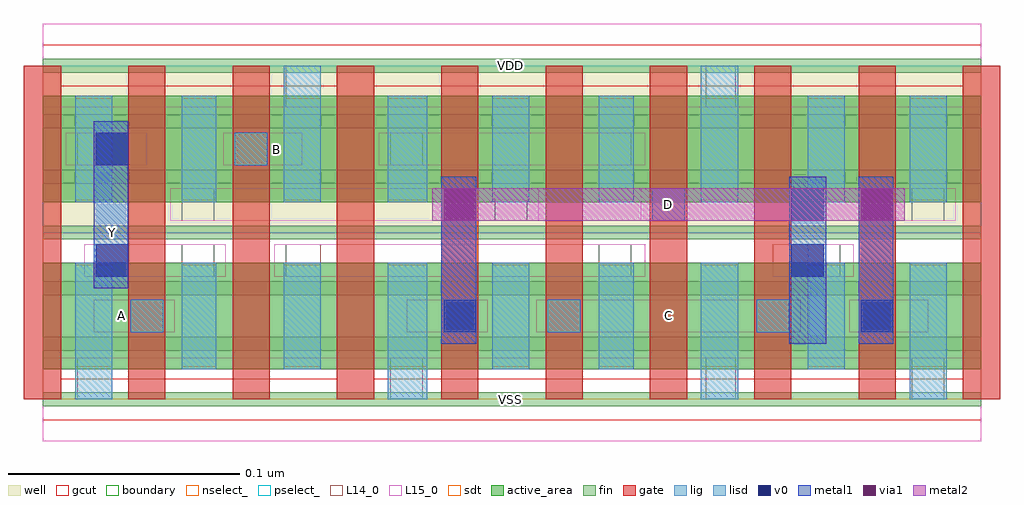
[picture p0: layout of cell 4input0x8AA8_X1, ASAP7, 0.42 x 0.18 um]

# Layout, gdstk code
import gdstk
lib = gdstk.Library(unit=1e-6, precision=1e-09)
def R(c, l, rs):  # rectangles x0, y0, x1, y1
    for r in rs: c.add(gdstk.rectangle(r[:2], r[2:], *l))
def A(c, l, x, y, w, h, nx, ny, dx, dy):  # array of equal rectangles
    R(c, l, [(x+i*dx, y+j*dy, x+i*dx+w, y+j*dy+h) for i in range(nx) for j in range(ny)])
def P(c, l, *ps):  # polygons
    for p in ps: c.add(gdstk.Polygon(p, *l))
well = (1, 0)
fin = (2, 0)
gate = (7, 0)
gcut = (10, 0)
active_area = (11, 0)
nselect_ = (12, 0)
pselect_ = (13, 0)
L14_0 = (14, 0)
L15_0 = (15, 0)
lig = (16, 0)
lisd = (17, 0)
v0 = (18, 0)
metal1 = (19, 0)
metal2 = (20, 0)
via1 = (21, 0)
sdt = (88, 0)
boundary = (100, 0)

c_4input0x8aa8_x1 = lib.new_cell('4input0x8AA8_X1')
R(c_4input0x8aa8_x1, well, [(0,0.072,0.405,0.144)])
A(c_4input0x8aa8_x1, fin, 0, -0.003, 0.405, 0.006, 1, 7, 0, 0.024)
A(c_4input0x8aa8_x1, gate, -0.008, 0, 0.016, 0.144, 10, 1, 0.045, 0)
P(c_4input0x8aa8_x1, gcut, [(0,-0.009),(0,0),(-0.008,0),(-0.008,0.135),(0.008,0.135),(0.008,0.009),(0.127,0.009),(0.127,0.135),(0.143,0.135),(0.143,0.009),(0.397,0.009),(0.397,0.135),(-0.008,0.135),(-0.008,0.144),(0,0.144),(0,0.153),(0.405,0.153),(0.405,0.144),(0.413,0.144),(0.413,0),(0.405,0),(0.405,-0.009)])
R(c_4input0x8aa8_x1, active_area, [(0,0.013,0.405,0.059), (0,0.085,0.405,0.131)])
R(c_4input0x8aa8_x1, nselect_, [(0,0,0.405,0.072)])
R(c_4input0x8aa8_x1, pselect_, [(0,0.072,0.405,0.144)])
R(c_4input0x8aa8_x1, L14_0, [(0.015,0,0.03,0.018), (0.15,0,0.164,0.018), (0.286,0,0.299,0.018), (0.375,0,0.389,0.018), (0.038,0.029,0.052,0.043), (0.173,0.029,0.187,0.043), (0.218,0.029,0.232,0.043), (0.308,0.029,0.322,0.043), (0.353,0.029,0.367,0.043), (0.06,0.053,0.074,0.067), (0.105,0.053,0.12,0.067), (0.24,0.053,0.254,0.067), (0.33,0.053,0.344,0.067), (0.06,0.077,0.074,0.091), (0.195,0.077,0.209,0.091), (0.263,0.077,0.277,0.091), (0.375,0.077,0.389,0.091), (0.015,0.101,0.03,0.115), (0.083,0.101,0.097,0.115), (0.15,0.101,0.164,0.115), (0.24,0.101,0.254,0.115), (0.105,0.126,0.12,0.144), (0.286,0.126,0.299,0.144)])
R(c_4input0x8aa8_x1, L15_0, [(0,-0.018,0.405,0.018), (0.022,0.029,0.057,0.043), (0.157,0.029,0.192,0.043), (0.213,0.029,0.327,0.043), (0.348,0.029,0.382,0.043), (0.018,0.053,0.079,0.067), (0.1,0.053,0.26,0.067), (0.315,0.053,0.35,0.067), (0.055,0.077,0.214,0.091), (0.258,0.077,0.394,0.091), (0.01,0.101,0.045,0.115), (0.078,0.101,0.112,0.115), (0.145,0.101,0.26,0.115), (0,0.126,0.405,0.162)])
R(c_4input0x8aa8_x1, lig, [(0.038,0.029,0.052,0.043), (0.173,0.029,0.187,0.043), (0.218,0.029,0.232,0.043), (0.308,0.029,0.322,0.043), (0.353,0.029,0.367,0.043), (0.263,0.077,0.277,0.091), (0.083,0.101,0.097,0.115)])
R(c_4input0x8aa8_x1, lisd, [(0.014,0,0.03,0.059), (0.149,0,0.166,0.059), (0.284,0,0.3,0.059), (0.374,0,0.39,0.059), (0.06,0.013,0.075,0.059), (0.104,0.013,0.12,0.059), (0.194,0.013,0.21,0.059), (0.24,0.013,0.255,0.059), (0.33,0.013,0.346,0.059), (0.014,0.085,0.03,0.131), (0.06,0.085,0.075,0.131), (0.104,0.085,0.12,0.144), (0.149,0.085,0.166,0.131), (0.194,0.085,0.21,0.131), (0.24,0.085,0.255,0.131), (0.284,0.085,0.3,0.144), (0.33,0.085,0.346,0.131), (0.374,0.085,0.39,0.131)])
R(c_4input0x8aa8_x1, v0, [(0.173,0.029,0.187,0.043), (0.353,0.029,0.367,0.043), (0.023,0.053,0.037,0.067), (0.323,0.053,0.337,0.067), (0.323,0.077,0.337,0.091), (0.023,0.101,0.037,0.115)])
R(c_4input0x8aa8_x1, metal1, [(0.172,0.024,0.187,0.096), (0.322,0.024,0.338,0.096), (0.352,0.024,0.367,0.096), (0.022,0.048,0.037,0.12)])
R(c_4input0x8aa8_x1, metal2, [(0.168,0.077,0.372,0.091)])
R(c_4input0x8aa8_x1, via1, [(0.173,0.077,0.187,0.091), (0.353,0.077,0.367,0.091)])
A(c_4input0x8aa8_x1, sdt, 0.014, 0.014, 0.016, 0.044, 4, 2, 0.09, 0.072)
R(c_4input0x8aa8_x1, sdt, [(0.06,0.014,0.075,0.058), (0.149,0.014,0.166,0.058), (0.24,0.014,0.255,0.058), (0.33,0.014,0.346,0.058), (0.374,0.014,0.39,0.058), (0.06,0.086,0.075,0.13), (0.149,0.086,0.166,0.13), (0.24,0.086,0.255,0.13), (0.33,0.086,0.346,0.13), (0.374,0.086,0.39,0.13)])
R(c_4input0x8aa8_x1, boundary, [(0,0,0.405,0.144)])
c_4input0x8aa8_x1.add(gdstk.Label('C', (0.27,0.036), layer=15, texttype=251))
c_4input0x8aa8_x1.add(gdstk.Label('VSS', (0.202,0), layer=15, texttype=251))
c_4input0x8aa8_x1.add(gdstk.Label('VDD', (0.202,0.144), layer=15, texttype=251))
c_4input0x8aa8_x1.add(gdstk.Label('B', (0.101,0.108), layer=15, texttype=251))
c_4input0x8aa8_x1.add(gdstk.Label('VSS', (0.202,0), layer=15, texttype=251))
c_4input0x8aa8_x1.add(gdstk.Label('VDD', (0.202,0.144), layer=15, texttype=251))
c_4input0x8aa8_x1.add(gdstk.Label('VSS', (0.202,0), layer=15, texttype=251))
c_4input0x8aa8_x1.add(gdstk.Label('VDD', (0.202,0.144), layer=15, texttype=251))
c_4input0x8aa8_x1.add(gdstk.Label('A', (0.034,0.036), layer=15, texttype=251))
c_4input0x8aa8_x1.add(gdstk.Label('VSS', (0.202,0), layer=15, texttype=251))
c_4input0x8aa8_x1.add(gdstk.Label('VDD', (0.202,0.144), layer=15, texttype=251))
c_4input0x8aa8_x1.add(gdstk.Label('VSS', (0.202,0), layer=15, texttype=251))
c_4input0x8aa8_x1.add(gdstk.Label('VDD', (0.202,0.144), layer=15, texttype=251))
c_4input0x8aa8_x1.add(gdstk.Label('VSS', (0.202,0), layer=3, texttype=251))
c_4input0x8aa8_x1.add(gdstk.Label('VSS', (0.202,0), layer=3, texttype=251))
c_4input0x8aa8_x1.add(gdstk.Label('VSS', (0.202,0), layer=3, texttype=251))
c_4input0x8aa8_x1.add(gdstk.Label('VSS', (0.202,0), layer=3, texttype=251))
c_4input0x8aa8_x1.add(gdstk.Label('VSS', (0.202,0), layer=3, texttype=251))
c_4input0x8aa8_x1.add(gdstk.Label('VDD', (0.202,0.144), layer=1, texttype=251))
c_4input0x8aa8_x1.add(gdstk.Label('VDD', (0.202,0.144), layer=1, texttype=251))
c_4input0x8aa8_x1.add(gdstk.Label('VDD', (0.202,0.144), layer=1, texttype=251))
c_4input0x8aa8_x1.add(gdstk.Label('VDD', (0.202,0.144), layer=1, texttype=251))
c_4input0x8aa8_x1.add(gdstk.Label('VDD', (0.202,0.144), layer=1, texttype=251))
c_4input0x8aa8_x1.add(gdstk.Label('D', (0.27,0.084), layer=20, texttype=251))
c_4input0x8aa8_x1.add(gdstk.Label('Y', (0.03,0.072), layer=19, texttype=251))

lib.write_gds('4input0x8AA8_X1.gds')
